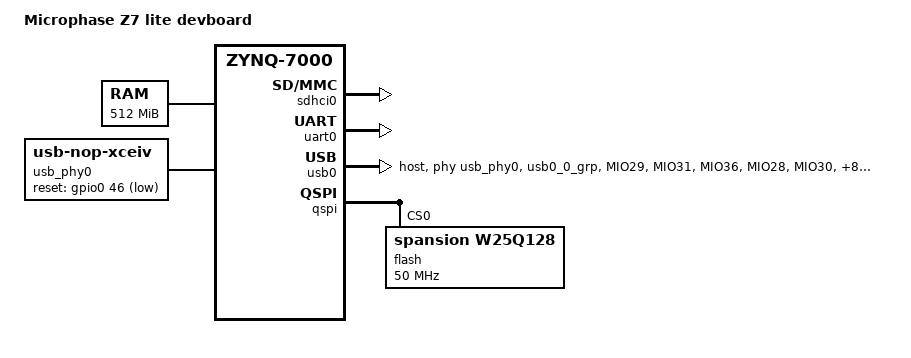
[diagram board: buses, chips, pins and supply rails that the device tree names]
/dts-v1/;

#include "zynq-7000.dtsi"

#include <dt-bindings/gpio/gpio.h>

/ {
	model = "Microphase Z7 lite devboard";
	compatible = "microphase,z7lite", "xlnx,zynq-7000";

	aliases {
		serial0 = &uart0;
		mmc0 = &sdhci0;
	};

	memory@0 {
		device_type = "memory";
		reg = <0x0 0x20000000>; /* 1x4Gib / 512MiB of DDR3 */
	};

	chosen {
		bootargs = "";
		stdout-path = "serial0:115200n8";
	};

	usb_phy0: phy0 {
		// USB3320C-EZK ULPI PHY
		// https://ww1.microchip.com/downloads/aemDocuments/documents/UNG/ProductDocuments/DataSheets/USB3320-Data-Sheet-DS00001792.pdf
		compatible = "usb-nop-xceiv";
		#phy-cells = <0>;
		reset-gpios = <&gpio0 46 GPIO_ACTIVE_LOW>;
	};
};

&clkc {
	/* PS Clock runs at 33.3MHz */
	ps-clk-frequency = <33333333>;
};

&sdhci0 {
	status = "okay";
	bootph-all;
};

&uart0 {
	status = "okay";
	bootph-all;
};

&pinctrl0 {
	pinctrl_usb0_default: usb0-default {
		mux {
			groups = "usb0_0_grp";
			function = "usb0";
		};
		conf {
			groups = "usb0_0_grp";
			slew-rate = <0>;
			io-standard = <3>;
		};
		conf-rx {
			pins = "MIO29", "MIO31", "MIO36";
			bias-high-impedance;
		};
		conf-tx {
			pins = "MIO28", "MIO30", "MIO32", "MIO33",
			       "MIO34", "MIO35", "MIO37", "MIO38", "MIO39";
			bias-disable;
		};
	};
	pinctrl_usb0_reset: usb0-reset {
		mux {
			groups = "gpio0_46_grp";
			function = "gpio0";
		};
		conf {
			groups = "gpio0_46_grp";
			slew-rate = <0>;
			io-standard = <3>;
			bias-disable;
		};
	};
};

&usb0 {
	status = "okay";
	dr_mode = "host";
	usb-phy = <&usb_phy0>;
	pinctrl-names = "default";
	pinctrl-0 = <&pinctrl_usb0_default &pinctrl_usb0_reset>;
	xlnx,phy-reset-gpio = <&gpio0 46 GPIO_ACTIVE_LOW>;
};
&qspi {
	bootph-all;
	status = "okay";
	flash@0 {
		compatible = "spansion,w25q128", "jedec,spi-nor";
		spi-rx-bus-width = <4>;
		spi-tx-bus-width = <4>;
		spi-max-frequency = <50000000>;
		reg = <0>;
	};
};
